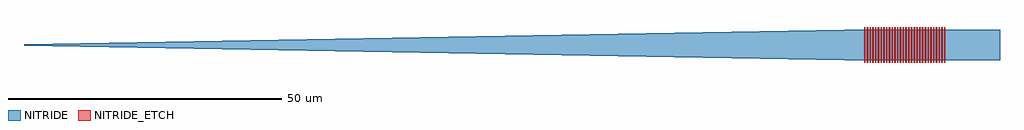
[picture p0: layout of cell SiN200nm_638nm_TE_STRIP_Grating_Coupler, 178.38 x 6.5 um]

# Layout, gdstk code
import gdstk
lib = gdstk.Library(unit=1e-6, precision=1e-09)
def R(c, l, rs):  # rectangles x0, y0, x1, y1
    for r in rs: c.add(gdstk.rectangle(r[:2], r[2:], *l))
def A(c, l, x, y, w, h, nx, ny, dx, dy):  # array of equal rectangles
    R(c, l, [(x+i*dx, y+j*dy, x+i*dx+w, y+j*dy+h) for i in range(nx) for j in range(ny)])
def P(c, l, *ps):  # polygons
    for p in ps: c.add(gdstk.Polygon(p, *l))
NITRIDE = (203, 0)
NITRIDE_ETCH = (204, 0)

sin200nm_638nm_te_strip_ = lib.new_cell('SiN200nm_638nm_TE_STRIP_Grating_Coupler')
R(sin200nm_638nm_te_strip_, NITRIDE, [(150,-2.75,178.38,2.75)])
P(sin200nm_638nm_te_strip_, NITRIDE, [(150,-2.75),(0,-0.18),(0,0.18),(150,2.75)])
A(sin200nm_638nm_te_strip_, NITRIDE_ETCH, 153.538, -3.25, 0.238, 6.5, 30, 1, 0.504, 0)

lib.write_gds('SiN200nm_638nm_TE_STRIP_Grating_Coupler.gds')
